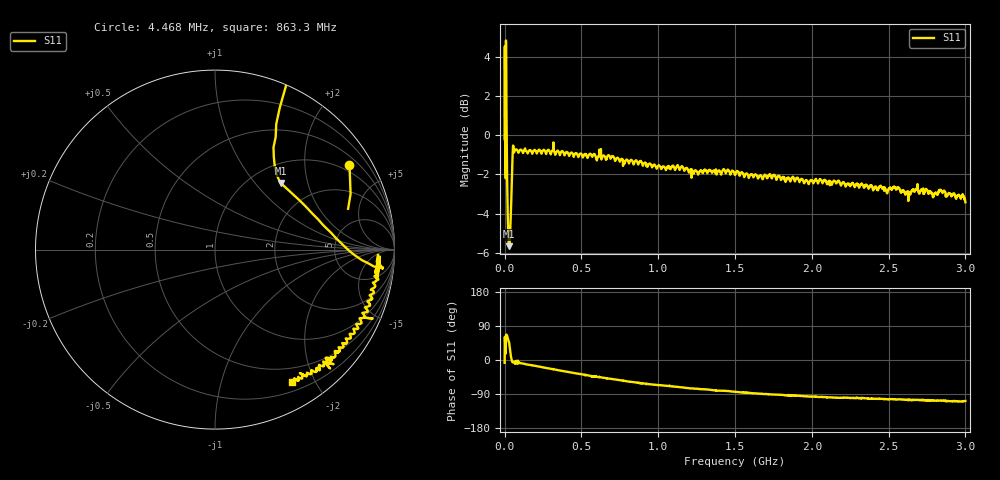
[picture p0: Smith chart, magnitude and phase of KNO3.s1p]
# HZ S RI R 50
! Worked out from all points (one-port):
!   2020 points, 10 kHz to 3 GHz, reference 50 ohm
!   lowest |S11| = -5.7 dB at 29.73 MHz (marker M1), VSWR 3.18, Z = 67.4 + j68.7 ohm
!   |S11| at or under -10 dB: nowhere
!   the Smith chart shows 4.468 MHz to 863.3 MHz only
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10000  0.9689 -0.1252
7439395  0.7416 0.2275
1.635467e7  0.3412 0.6995
1.932643e7  0.3258 0.5687
2.378406e7  0.3363 0.4478
2.675582e7  0.3507 0.4011
2.972758e7  0.3658 0.3713
3.864285e7  0.5747 0.1682
4.904401e7  0.8181 -0.0586
5.795928e7  0.9297 -0.0984
6.687456e7  0.9101 -0.0884
2.407224e8  0.8493 -0.2896
3.759374e8  0.797 -0.4409
5.705875e8  0.6387 -0.6063
7.503789e8  0.5123 -0.6858
9.375996e8  0.375 -0.7548
1.126306e9  0.2696 -0.7902
1.37742e9  0.1249 -0.7874
1.500748e9  0.0818 -0.7873
1.674596e9  0.00523 -0.7821
1.875189e9  -0.0527 -0.7775
2.166422e9  -0.1275 -0.7498
2.251117e9  -0.1256 -0.7317
2.55275e9  -0.1795 -0.7071
2.625558e9  -0.1879 -0.6909
2.845468e9  -0.2115 -0.6879
2.965824e9  -0.2302 -0.6581
3e9  -0.2095 -0.6413
